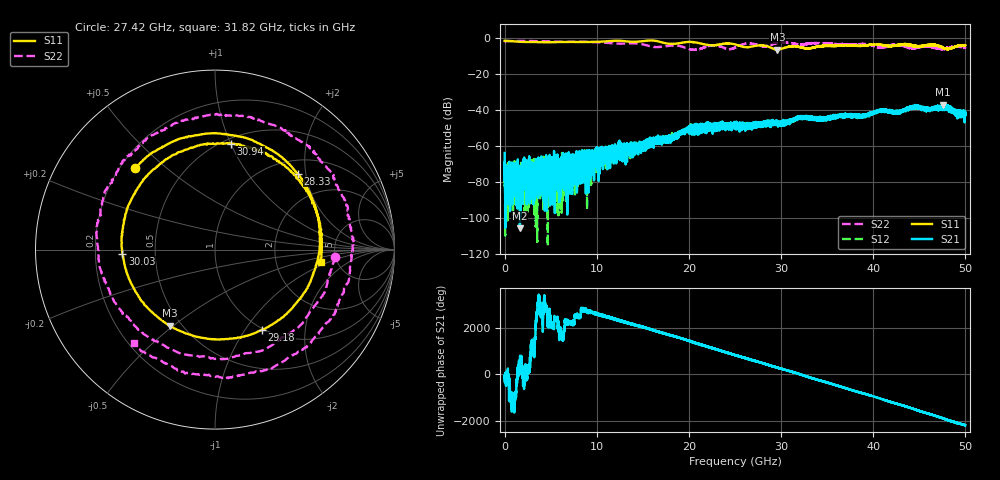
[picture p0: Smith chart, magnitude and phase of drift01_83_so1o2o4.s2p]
!Created with skrf (http://scikit-rf.org).
# Hz S RI R 50.0
!freq ReS11 ImS11 ReS21 ImS21 ReS12 ImS12 ReS22 ImS22
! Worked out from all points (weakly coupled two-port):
!   10001 points, 300 kHz to 50 GHz, reference 50 ohm
!   highest |S21| = -36.78 dB at 47.53 GHz (marker M1); lowest = -105.5 dB at 1.66 GHz (marker M2)
!   lowest |S11| = -6.2 dB at 29.61 GHz (marker M3), VSWR 2.94, Z = 21.8 - j24.4 ohm
!   |S11| at or under -10 dB: nowhere
!   |S22| runs from -6.4 to -1.4 dB; largest |S21 - S12| = 0.004
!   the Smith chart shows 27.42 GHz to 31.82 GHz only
!   S11 on the Smith chart (normalised r, x): 27.42 GHz: 0.26, +0.40; 28.33 GHz: 1.30, +1.80; 29.18 GHz: 0.98, -1.20; 30.03 GHz: 0.32, -0.02; 30.94 GHz: 0.55, +1.00; 31.82 GHz: 3.73, -0.80
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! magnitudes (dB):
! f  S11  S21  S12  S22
! 300 kHz  -1.3  -63.6  -68.5  -2.1
! 280.3 MHz  -1.4  -73.5  -80.6  -1.4
! 1.66 GHz  -1.8  -105.5  -77.7  -1.4
! 4.555 GHz  -2.1  -78.0  -73.6  -1.6
! 5.99 GHz  -2.0  -71.8  -75.9  -1.8
! 8.335 GHz  -2.0  -67.0  -66.5  -1.8
! 16.67 GHz  -1.6  -58.6  -55.8  -4.8
! 18.62 GHz  -2.9  -53.8  -53.9  -3.9
! 20.24 GHz  -1.9  -50.6  -52.1  -6.1
! 22.62 GHz  -3.8  -50.7  -50.2  -3.8
! 25 GHz  -3.3  -48.5  -48.3  -5.0
! 27.42 GHz  -3.9  -48.1  -47.9  -3.5
! 28.33 GHz  -4.1  -47.5  -46.7  -4.4
! 29.18 GHz  -5.7  -46.4  -48.3  -3.0
! 29.61 GHz  -6.2  -47.0  -46.6  -2.6
! 30.03 GHz  -5.7  -46.9  -47.4  -2.3
! 30.94 GHz  -4.5  -46.0  -45.3  -2.4
! 31.82 GHz  -4.5  -43.7  -44.6  -3.3
! 33.34 GHz  -5.2  -44.1  -44.1  -2.7
! 41.67 GHz  -4.3  -40.1  -40.6  -4.0
! 47.53 GHz  -5.0  -36.8  -38.3  -5.5
! 50 GHz  -3.8  -42.8  -42.1  -5.3
